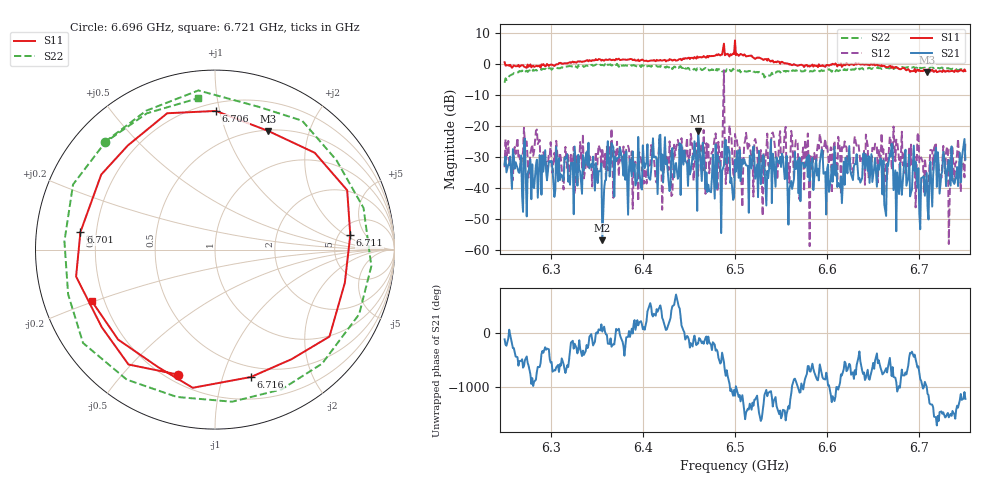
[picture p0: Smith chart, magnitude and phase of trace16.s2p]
# Hz S RI R 50
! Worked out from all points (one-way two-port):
!   401 points, 6.25 GHz to 6.75 GHz, reference 50 ohm
!   highest |S21| = -21.74 dB at 6.46 GHz (marker M1); lowest = -56.9 dB at 6.356 GHz (marker M2)
!   lowest |S11| = -2.8 dB at 6.708 GHz (marker M3), VSWR 6.26, Z = 25.5 + j71 ohm
!   |S11| at or under -10 dB: nowhere
!   |S22| runs from -6.2 to -0.1 dB; largest |S21 - S12| = 0.8
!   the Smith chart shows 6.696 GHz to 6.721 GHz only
!   S11 on the Smith chart (normalised r, x): 6.696 GHz: 0.24, -0.72; 6.701 GHz: 0.14, +0.06; 6.706 GHz: 0.25, +0.97; 6.711 GHz: 6.33, +2.41; 6.716 GHz: 0.40, -1.24; 6.721 GHz: 0.15, -0.19
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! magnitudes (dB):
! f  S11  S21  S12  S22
! 6.25 GHz  0.4  -32.6  -33.4  -6.2
! 6.334 GHz  0.5  -42.0  -33.5  -0.5
! 6.356 GHz  1.2  -56.9  -27.3  -0.4
! 6.365 GHz  1.3  -33.2  -32.1  -0.3
! 6.418 GHz  1.0  -23.1  -24.2  -0.9
! 6.46 GHz  1.9  -21.7  -36.2  -1.8
! 6.5 GHz  7.4  -31.0  -22.7  -2.1
! 6.528 GHz  1.7  -38.9  -27.9  -2.7
! 6.541 GHz  1.0  -29.0  -22.2  -3.4
! 6.584 GHz  -0.3  -30.4  -34.2  -2.5
! 6.591 GHz  -0.3  -37.7  -27.4  -2.4
! 6.661 GHz  -0.7  -31.2  -27.6  -1.6
! 6.668 GHz  -0.8  -28.9  -23.5  -1.6
! 6.675 GHz  -1.2  -54.0  -24.5  -1.1
! 6.696 GHz  -2.8  -31.6  -46.4  -1.3
! 6.701 GHz  -2.4  -53.4  -31.2  -1.2
! 6.706 GHz  -2.2  -42.6  -30.5  -1.1
! 6.708 GHz  -2.8  -35.3  -36.7  -1.2
! 6.711 GHz  -2.4  -36.0  -32.7  -1.4
! 6.716 GHz  -2.6  -32.2  -27.2  -1.5
! 6.721 GHz  -2.6  -32.7  -34.0  -1.4
! 6.75 GHz  -2.4  -30.9  -25.0  -2.2
